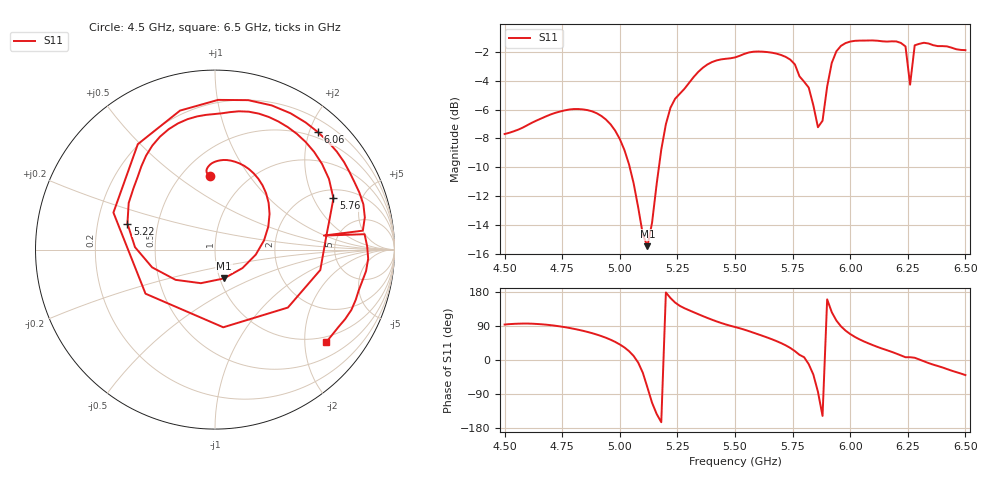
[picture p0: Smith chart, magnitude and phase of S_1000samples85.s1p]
! TOUCHSTONE file generated by CST MICROWAVE STUDIO
! Date and time: Wed Oct 26 22:55:14 2022
! Project name: L.cst
! Parameters = {Di=1.27; Epsilon_r=1.56; InnerDiameter=1.27; Length=2; Lf=10; Lg=60; OuterConductorThickness=0.2921; OuterDiameter=3.6; Wf=3; Wp=41.2; de=1.5; df=6.8; g=0.8; gx=0.979105; gy=2.50421; h=2.34; hf=1.524; px=13.6348; py=11.4629; w=9.7; wx=12.6557; wy=8.95873}
! Header version: 2018
! Port assignment regex: !\s*Touchstone port\s*([0-9]+)\s*=\s*(CST MWS port|CST DS port)\s*([0-9]+|Zmin|Zmax)\s*\(\"(.*)\"\)(\s*mode\s*([0-9]+))?.*
! Touchstone port assignment:
! Touchstone port 1 = CST MWS port 1 ("")
# GHz S DB R 50
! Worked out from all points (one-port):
!   101 points, 4.5 GHz to 6.5 GHz, reference 50 ohm
!   lowest |S11| = -15.5 dB at 5.12 GHz (marker M1), VSWR 1.40, Z = 52.3 - j17.3 ohm
!   |S11| at or under -10 dB: 5.043 GHz to 5.17 GHz (126.7 MHz wide, 2.48 % of centre)
!   S11 on the Smith chart (normalised r, x): 4.5 GHz: 0.68, +0.67; 5.22 GHz: 0.33, +0.13; 5.76 GHz: 2.45, +2.90; 6.06 GHz: 0.40, +2.14; 6.5 GHz: 0.85, -2.51
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4.5  -7.69 93.6
4.76  -6.06 86.8
4.9  -6.25 67.1
5  -8.04 41.0
5.06  -11.11 10.7
5.12  -15.48 -72.7
5.16  -11.16 -142.5
5.22  -5.87 163.5
5.26  -4.91 143.0
5.38  -2.87 111.1
5.5  -2.38 87.1
5.64  -2.01 59.3
5.76  -2.87 23.4
5.82  -4.47 -11.0
5.84  -5.70 -38.5
5.86  -7.22 -83.9
5.88  -6.77 -147.6
5.9  -4.40 160.0
5.92  -2.76 126.2
5.94  -1.95 104.1
6  -1.28 68.5
6.06  -1.21 48.9
6.22  -1.37 12.1
6.24  -1.61 7.3
6.26  -4.27 7.3
6.28  -1.54 5.9
6.32  -1.36 -3.4
6.5  -1.87 -39.8
